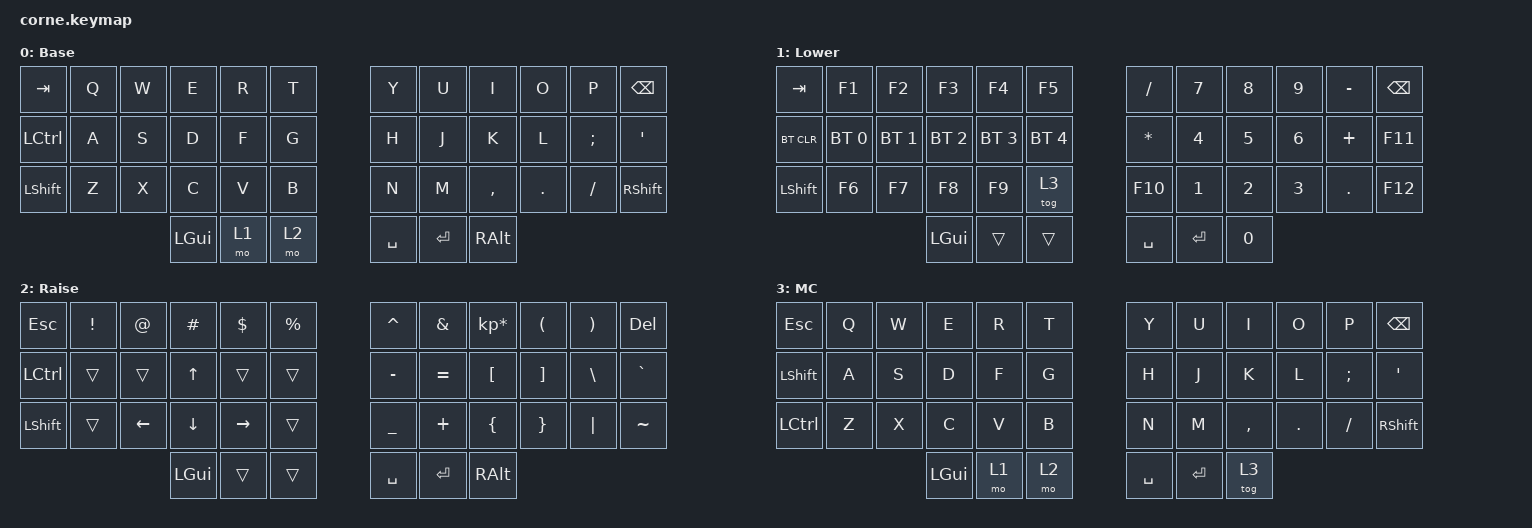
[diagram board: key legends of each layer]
/*
 * Copyright (c) 2020 The ZMK Contributors
 *
 * SPDX-License-Identifier: MIT
 */

#include <behaviors.dtsi>
#include <dt-bindings/zmk/bt.h>
#include <dt-bindings/zmk/keys.h>

/ {
    combos {
        compatible = "zmk,combos";

        combo_return {
            timeout-ms = <50>;
            key-positions = <19 20 21>;
            bindings = <&kp RETURN>;
        };

        combo_delete {
            timeout-ms = <50>;
            key-positions = <10 11>;
            bindings = <&kp DELETE>;
        };
    };

    keymap {
        compatible = "zmk,keymap";

        default_layer {
            // -----------------------------------------------------------------------------------------
            // |  TAB |  Q  |  W  |  E  |  R  |  T  |   |  Y  |  U   |  I  |  O  |  P  | BKSP |
            // | CTRL |  A  |  S  |  D  |  F  |  G  |   |  H  |  J   |  K  |  L  |  ;  |  '   |
            // | SHFT |  Z  |  X  |  C  |  V  |  B  |   |  N  |  M   |  ,  |  .  |  /  | ESC  |
            //                    | GUI | RSE | LWR |   | SPC | ENT  | ALT |

            display-name = "Base";
            bindings = <
&kp TAB    &kp Q  &kp W  &kp E     &kp R  &kp T    &kp Y      &kp U       &kp I      &kp O    &kp P     &kp BSPC
&kp LCTRL  &kp A  &kp S  &kp D     &kp F  &kp G    &kp H      &kp J       &kp K      &kp L    &kp SEMI  &kp SQT
&kp LSHFT  &kp Z  &kp X  &kp C     &kp V  &kp B    &kp N      &kp M       &kp COMMA  &kp DOT  &kp FSLH  &kp RIGHT_SHIFT
                         &kp LGUI  &mo 1  &mo 2    &kp SPACE  &kp RETURN  &kp RALT
            >;
        };

        lower_layer {
            // -----------------------------------------------------------------------------------------
            // |  TAB |  1  |  2  |  3  |  4  |  5  |   |  6  |  7  |  8  |  9  |  0  | BKSP |
            // | BTCLR| BT1 | BT2 | BT3 | BT4 | BT5 |   | LFT | DWN |  UP | RGT |     |      |
            // | SHFT |     |     |     |     |     |   |     |     |     |     |     |      |
            //                    | GUI |     | SPC |   | ENT |     | ALT |

            display-name = "Lower";
            bindings = <
&kp TAB     &kp F1        &kp F2        &kp F3        &kp F4        &kp F5          &kp SLASH     &kp N7      &kp N8  &kp N9  &kp MINUS   &kp BSPC
&bt BT_CLR  &bt BT_SEL 0  &bt BT_SEL 1  &bt BT_SEL 2  &bt BT_SEL 3  &bt BT_SEL 4    &kp ASTERISK  &kp N4      &kp N5  &kp N6  &kp PLUS    &kp F11
&kp LSHFT   &kp F6        &kp F7        &kp F8        &kp F9        &tog 3          &kp F10       &kp N1      &kp N2  &kp N3  &kp PERIOD  &kp F12
                                        &kp LGUI      &trans        &trans          &kp SPACE     &kp RETURN  &kp N0
            >;
        };

        raise_layer {
            // -----------------------------------------------------------------------------------------
            // |  TAB |  !  |  @  |  #  |  $  |  %  |   |  ^  |  &  |  *  |  (  |  )  | BKSP |
            // | CTRL |     |     |     |     |     |   |  -  |  =  |  [  |  ]  |  \  |  `   |
            // | SHFT |     |     |     |     |     |   |  _  |  +  |  {  |  }  | "|" |  ~   |
            //                    | GUI |     | SPC |   | ENT |     | ALT |

            display-name = "Raise";
            bindings = <
&kp ESCAPE  &kp EXCL  &kp AT          &kp HASH        &kp DLLR         &kp PRCNT    &kp CARET  &kp AMPS    &kp KP_MULTIPLY  &kp LPAR  &kp RPAR  &kp DELETE
&kp LCTRL   &trans    &trans          &kp UP_ARROW    &trans           &trans       &kp MINUS  &kp EQUAL   &kp LBKT         &kp RBKT  &kp BSLH  &kp GRAVE
&kp LSHFT   &trans    &kp LEFT_ARROW  &kp DOWN_ARROW  &kp RIGHT_ARROW  &trans       &kp UNDER  &kp PLUS    &kp LBRC         &kp RBRC  &kp PIPE  &kp TILDE
                                      &kp LGUI        &trans           &trans       &kp SPACE  &kp RETURN  &kp RALT
            >;
        };

        mc_layer {
            display-name = "MC";
            bindings = <
&kp ESCAPE        &kp Q  &kp W  &kp E     &kp R  &kp T    &kp Y      &kp U       &kp I      &kp O    &kp P     &kp BSPC
&kp LEFT_SHIFT    &kp A  &kp S  &kp D     &kp F  &kp G    &kp H      &kp J       &kp K      &kp L    &kp SEMI  &kp SQT
&kp LEFT_CONTROL  &kp Z  &kp X  &kp C     &kp V  &kp B    &kp N      &kp M       &kp COMMA  &kp DOT  &kp FSLH  &kp RIGHT_SHIFT
                                &kp LGUI  &mo 1  &mo 2    &kp SPACE  &kp RETURN  &tog 3
            >;
        };
    };
};
